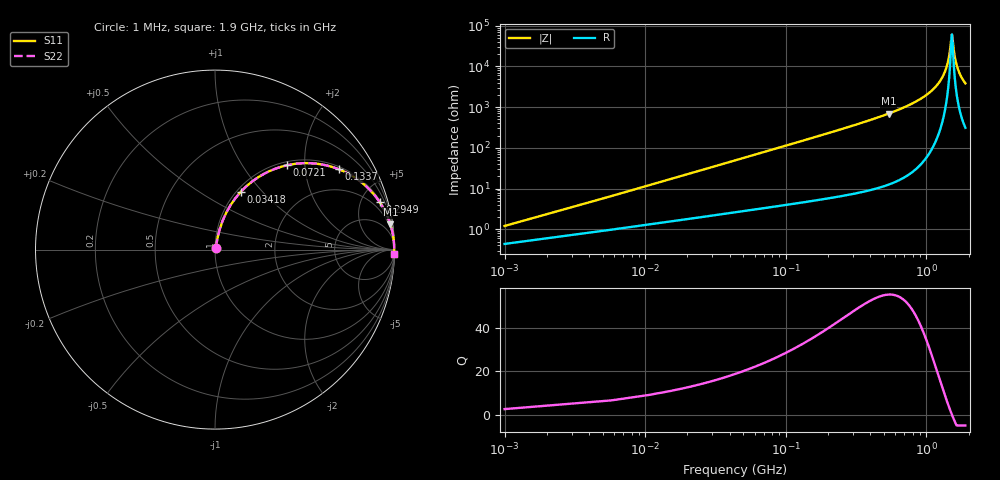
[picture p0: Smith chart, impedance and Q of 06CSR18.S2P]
! Coilcraft 0603CS-R18 Chip Inductor
! 21 May 2002
# MHZ S MA R 50
!Freq  MagS11  AngS11  MagS21  AngS21  MagS12  AngS12  MagS22  AngS22
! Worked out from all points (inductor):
!   402 points, 1 MHz to 1.9 GHz, reference 50 ohm
!   read as one part in series: L = 179 nH near 10.48 MHz
!   highest Q = 55.6 at 541.4 MHz (marker M1), where L = 205 nH
!   self-resonance near 1.523 GHz
!   S11 on the Smith chart (normalised r, x): 1 MHz: 1.01, +0.02; 34.18 MHz: 1.05, +0.77; 72.1 MHz: 1.07, +1.63; 133.7 MHz: 1.09, +3.03; 294.9 MHz: 1.15, +6.89; 1.9 GHz: 7, -76
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1  0.01201 68.1  0.9956 -0.6  0.9956 -0.6  0.01201 68.1
15.22  0.1669 75.2  0.9709 -9.6  0.9709 -9.6  0.1669 75.2
24.7  0.2636 70.7  0.9461 -15.2  0.9461 -15.2  0.2636 70.7
34.18  0.3525 66.0  0.9149 -20.6  0.9149 -20.6  0.3525 66.0
72.1  0.6187 49.5  0.7606 -38.2  0.7606 -38.2  0.6187 49.5
133.72  0.8234 32.9  0.543 -55.4  0.543 -55.4  0.8234 32.9
200.08  0.9082 23.4  0.3965 -65.2  0.3965 -65.2  0.9082 23.4
294.88  0.955 16.1  0.2771 -72.7  0.2771 -72.7  0.955 16.1
318.58  0.9613 14.9  0.2565 -74.0  0.2565 -74.0  0.9613 14.9
541.36  0.9874 8.1  0.1417 -80.8  0.1417 -80.8  0.9874 8.1
636.16  0.9913 6.6  0.1144 -82.4  0.1144 -82.4  0.9913 6.6
953.74  0.9969 3.2  0.05651 -85.3  0.05651 -85.3  0.9969 3.2
1271.32  0.9983 1.2  0.02123 -84.9  0.02123 -84.9  0.9983 1.2
1356.64  0.9984 0.8  0.01361 -82.9  0.01361 -82.9  0.9984 0.8
1423  0.9984 0.5  0.008093 -78.5  0.008093 -78.5  0.9984 0.5
1465.66  0.9984 0.3  0.004767 -70.3  0.004767 -70.3  0.9984 0.3
1522.54  0.9984 0.0  0.001637 -2.1  0.001637 -2.1  0.9984 0.0
1536.76  0.9983 -0.1  0.001941 31.7  0.001941 31.7  0.9983 -0.1
1584.16  0.9983 -0.3  0.004868 69.3  0.004868 69.3  0.9983 -0.3
1631.56  0.9982 -0.5  0.00819 77.2  0.00819 77.2  0.9982 -0.5
1697.92  0.9981 -0.7  0.01279 81.0  0.01279 81.0  0.9981 -0.7
1900  0.9976 -1.5  0.02601 83.9  0.02601 83.9  0.9976 -1.5
